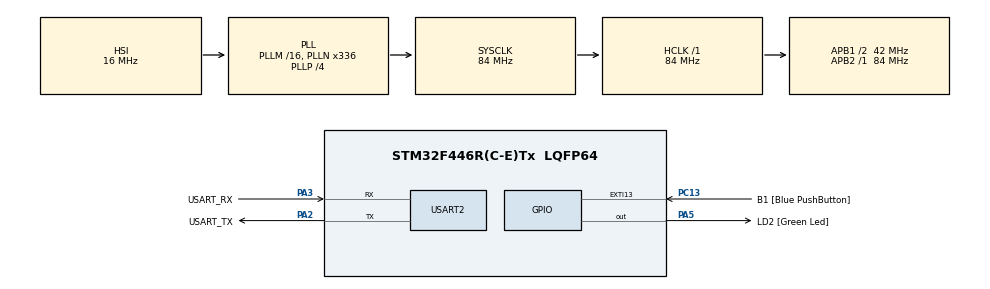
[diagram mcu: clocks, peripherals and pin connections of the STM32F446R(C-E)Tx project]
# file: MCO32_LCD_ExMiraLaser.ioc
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Mcu.Family=STM32F4
Mcu.Name=STM32F446R(C-E)Tx
Mcu.Package=LQFP64
NVIC.PriorityGroup=NVIC_PRIORITYGROUP_0
NVIC.USART2_IRQn=true\:0\:0\:false\:false\:true\:true\:true\:true
PA13.GPIO_Label=TMS
PA13.Mode=Serial_Wire
PA13.Signal=SYS_JTMS-SWDIO
PA14.GPIO_Label=TCK
PA14.Mode=Serial_Wire
PA14.Signal=SYS_JTCK-SWCLK
PA2.GPIO_Label=USART_TX
PA2.Mode=Asynchronous
PA2.Signal=USART2_TX
PA3.GPIO_Label=USART_RX
PA3.Mode=Asynchronous
PA3.Signal=USART2_RX
PA5.GPIO_Label=LD2 [Green Led]
PA5.Signal=GPIO_Output
PB3.GPIO_Label=SWO
PB3.Signal=SYS_JTDO-SWO
PC13.GPIO_Label=B1 [Blue PushButton]
PC13.GPIO_ModeDefaultEXTI=GPIO_MODE_IT_FALLING
PC13.Signal=GPXTI13
PC14-OSC32_IN.Mode=LSE-External-Oscillator
PC14-OSC32_IN.Signal=RCC_OSC32_IN
PC15-OSC32_OUT.Mode=LSE-External-Oscillator
PC15-OSC32_OUT.Signal=RCC_OSC32_OUT
PH0-OSC_IN.Mode=HSE-External-Oscillator
PH0-OSC_IN.Signal=RCC_OSC_IN
PH1-OSC_OUT.Mode=HSE-External-Oscillator
PH1-OSC_OUT.Signal=RCC_OSC_OUT
ProjectManager.HeapSize=0x200
ProjectManager.StackSize=0x400
ProjectManager.TargetToolchain=STM32CubeIDE
RCC.48MHZClocksFreq_Value=84000000
RCC.AHBFreq_Value=84000000
RCC.APB1CLKDivider=RCC_HCLK_DIV2
RCC.APB1Freq_Value=42000000
RCC.APB1TimFreq_Value=84000000
RCC.APB2Freq_Value=84000000
RCC.APB2TimFreq_Value=84000000
RCC.CortexFreq_Value=84000000
RCC.FLatency-AdvancedSettings=FLASH_LATENCY_2
RCC.HCLKFreq_Value=84000000
RCC.HSE_VALUE=8000000
RCC.HSI_VALUE=16000000
RCC.PLLN=336
RCC.PLLP=RCC_PLLP_DIV4
RCC.SYSCLKFreq_VALUE=84000000
RCC.SYSCLKSource=RCC_SYSCLKSOURCE_PLLCLK
RCC.USBFreq_Value=168000000
RCC.VCOOutputFreq_Value=336000000
TIM1.AutoReloadPreload=TIM_AUTORELOAD_PRELOAD_ENABLE
TIM1.Period=0xFFFF-1
TIM1.Prescaler=84-1
USART2.VirtualMode=VM_ASYNC
VP_TIM1_VS_ClockSourceINT.Mode=Internal
board=NUCLEO-F446RE

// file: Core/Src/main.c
/* USER CODE BEGIN Header */
/**
  ******************************************************************************
  * @file           : main.c
  * @brief          : Main program body
  ******************************************************************************
  * @attention
  *
  * Copyright (c) 2022 STMicroelectronics.
  * All rights reserved.
  *
  * This software is licensed under terms that can be found in the LICENSE file
  * in the root directory of this software component.
  * If no LICENSE file comes with this software, it is provided AS-IS.
  *
  ******************************************************************************
  */
/* USER CODE END Header */
#include "main.h"

/* USER CODE BEGIN Includes */
#include "fonts.h"
#include "tft.h"
#include "user_setting.h"
#include "functions.h"
#include "string.h"
/* USER CODE END Includes */

/* USER CODE BEGIN PD */
#define SCREEN_ORIENTATION 1 //0: Retrato | 1: Paisagem
#define SCREEN_BG BLACK //Cor de fundo
#define CH_COLOR GREEN //Cor da mira
#define CH_STEP 2 //Passo da mira
/* USER CODE END PD */

TIM_HandleTypeDef htim1;

UART_HandleTypeDef huart2;

/* USER CODE BEGIN PV */
unsigned char rx;
volatile uint16_t flagRx = 0;
/* USER CODE END PV */

void SystemClock_Config(void);
static void MX_GPIO_Init(void);
static void MX_USART2_UART_Init(void);
static void MX_TIM1_Init(void);
/* USER CODE BEGIN PFP */
void setScreenSettings(void);
void drawCrosshair(uint16_t x, uint16_t y);
void deleteCrosshair(uint16_t x, uint16_t y);
/* USER CODE END PFP */

int main(void)
{

  /* MCU Configuration--------------------------------------------------------*/

  /* Reset of all peripherals, Initializes the Flash interface and the Systick. */
  HAL_Init();

  /* Configure the system clock */
  SystemClock_Config();

  /* Initialize all configured peripherals */
  MX_GPIO_Init();
  MX_USART2_UART_Init();
  MX_TIM1_Init();
  /* USER CODE BEGIN 2 */
  setScreenSettings();
  HAL_UART_Receive_IT(&huart2, &rx, 1); //Habilita interrupção de recebimento na UART2

  /* Inicialização do display */

  /* Desenha mira no centro da tela */
  uint16_t chX = 160;
  uint16_t chY = 120;
  drawCrosshair(chX, chY);
  uint8_t shots = 0;
  uint16_t shotsPos[5][2] = {{0, 0}, {0, 0}, {0, 0}, {0, 0}, {0, 0}};

  /* USER CODE END 2 */

  /* Infinite loop */
  /* USER CODE BEGIN WHILE */
  while (1)
  {
	  /* Desenha os tiros */
	  for(int i = 0; i < shots; i++)
	  {
		  fillCircle(shotsPos[i][0], shotsPos[i][1], 4, RED);
	  }

	  /* Movimenta a mira */
	  if(flagRx)
	  {
		  flagRx = 0;
//		  HAL_UART_Transmit(&huart2, (uint8_t *)"Received: ", 10, 100);
//		  HAL_UART_Transmit(&huart2, &rx, 1, 100);
//		  HAL_UART_Transmit(&huart2, (uint8_t *) "\r\n", 2, 100);

		  switch(rx)
		  {
		  case 'w': //Movimenta para cima
			  deleteCrosshair(chX, chY);
			  if(chY - CH_STEP > 0)
				  chY -= CH_STEP;
			  drawCrosshair(chX, chY);
//			  HAL_UART_Transmit(&huart2, (uint8_t *) "w", 1, 100);
			  break;

		  case 'a': //Movimenta para esquerda
			  deleteCrosshair(chX, chY);
			  if(chX - CH_STEP > 0)
				  chX -= CH_STEP;
			  drawCrosshair(chX, chY);
//			  HAL_UART_Transmit(&huart2, (uint8_t *) "a", 1, 100);
			  break;

		  case 's': //Movimenta para baixo
			  deleteCrosshair(chX, chY);
			  if(chY + CH_STEP < 239)
				  chY += CH_STEP;
			  drawCrosshair(chX, chY);
//			  HAL_UART_Transmit(&huart2, (uint8_t *) "s", 1, 100);
			  break;

		  case 'd': //Movimenta para direita
			  deleteCrosshair(chX, chY);
			  if(chX + CH_STEP < 319)
				  chX += CH_STEP;
			  drawCrosshair(chX, chY);
//			  HAL_UART_Transmit(&huart2, (uint8_t *) "d", 1, 100);
			  break;

		  case ' ':  //Tiro
			  if(shots < 5)
			  {
				  shotsPos[shots][0] = chX;
				  shotsPos[shots][1] = chY;
				  fillCircle(shotsPos[shots][0], shotsPos[shots][1], 4, RED);
				  shots++;
			  }
//			  HAL_UART_Transmit(&huart2, (uint8_t *) "x", 1, 100);
			  break;

		  case 'r': //Reset
			  shots = 0;
			  fillScreen(SCREEN_BG);
			  chX = 160;
			  chY = 120;
			  drawCrosshair(chX, chY);
			  break;
		  }
	  }

    /* USER CODE END WHILE */

  }
}

void SystemClock_Config(void)
{
  RCC_OscInitTypeDef RCC_OscInitStruct = {0};
  RCC_ClkInitTypeDef RCC_ClkInitStruct = {0};

  /** Configure the main internal regulator output voltage
  */
  __HAL_RCC_PWR_CLK_ENABLE();
  __HAL_PWR_VOLTAGESCALING_CONFIG(PWR_REGULATOR_VOLTAGE_SCALE3);

  /** Initializes the RCC Oscillators according to the specified parameters
  * in the RCC_OscInitTypeDef structure.
  */
  RCC_OscInitStruct.OscillatorType = RCC_OSCILLATORTYPE_HSI;
  RCC_OscInitStruct.HSIState = RCC_HSI_ON;
  RCC_OscInitStruct.HSICalibrationValue = RCC_HSICALIBRATION_DEFAULT;
  RCC_OscInitStruct.PLL.PLLState = RCC_PLL_ON;
  RCC_OscInitStruct.PLL.PLLSource = RCC_PLLSOURCE_HSI;
  RCC_OscInitStruct.PLL.PLLM = 16;
  RCC_OscInitStruct.PLL.PLLN = 336;
  RCC_OscInitStruct.PLL.PLLP = RCC_PLLP_DIV4;
  RCC_OscInitStruct.PLL.PLLQ = 2;
  RCC_OscInitStruct.PLL.PLLR = 2;
  if (HAL_RCC_OscConfig(&RCC_OscInitStruct) != HAL_OK)
  {
    Error_Handler();
  }

  /** Initializes the CPU, AHB and APB buses clocks
  */
  RCC_ClkInitStruct.ClockType = RCC_CLOCKTYPE_HCLK|RCC_CLOCKTYPE_SYSCLK
                              |RCC_CLOCKTYPE_PCLK1|RCC_CLOCKTYPE_PCLK2;
  RCC_ClkInitStruct.SYSCLKSource = RCC_SYSCLKSOURCE_PLLCLK;
  RCC_ClkInitStruct.AHBCLKDivider = RCC_SYSCLK_DIV1;
  RCC_ClkInitStruct.APB1CLKDivider = RCC_HCLK_DIV2;
  RCC_ClkInitStruct.APB2CLKDivider = RCC_HCLK_DIV1;

  if (HAL_RCC_ClockConfig(&RCC_ClkInitStruct, FLASH_LATENCY_2) != HAL_OK)
  {
    Error_Handler();
  }
}

static void MX_TIM1_Init(void)
{

  TIM_ClockConfigTypeDef sClockSourceConfig = {0};
  TIM_MasterConfigTypeDef sMasterConfig = {0};

  htim1.Instance = TIM1;
  htim1.Init.Prescaler = 84-1;
  htim1.Init.CounterMode = TIM_COUNTERMODE_UP;
  htim1.Init.Period = 0xFFFF-1;
  htim1.Init.ClockDivision = TIM_CLOCKDIVISION_DIV1;
  htim1.Init.RepetitionCounter = 0;
  htim1.Init.AutoReloadPreload = TIM_AUTORELOAD_PRELOAD_ENABLE;
  if (HAL_TIM_Base_Init(&htim1) != HAL_OK)
  {
    Error_Handler();
  }
  sClockSourceConfig.ClockSource = TIM_CLOCKSOURCE_INTERNAL;
  if (HAL_TIM_ConfigClockSource(&htim1, &sClockSourceConfig) != HAL_OK)
  {
    Error_Handler();
  }
  sMasterConfig.MasterOutputTrigger = TIM_TRGO_RESET;
  sMasterConfig.MasterSlaveMode = TIM_MASTERSLAVEMODE_DISABLE;
  if (HAL_TIMEx_MasterConfigSynchronization(&htim1, &sMasterConfig) != HAL_OK)
  {
    Error_Handler();
  }

}

static void MX_USART2_UART_Init(void)
{

  huart2.Instance = USART2;
  huart2.Init.BaudRate = 115200;
  huart2.Init.WordLength = UART_WORDLENGTH_8B;
  huart2.Init.StopBits = UART_STOPBITS_1;
  huart2.Init.Parity = UART_PARITY_NONE;
  huart2.Init.Mode = UART_MODE_TX_RX;
  huart2.Init.HwFlowCtl = UART_HWCONTROL_NONE;
  huart2.Init.OverSampling = UART_OVERSAMPLING_16;
  if (HAL_UART_Init(&huart2) != HAL_OK)
  {
    Error_Handler();
  }

}

static void MX_GPIO_Init(void)
{
  GPIO_InitTypeDef GPIO_InitStruct = {0};

  /* GPIO Ports Clock Enable */
  __HAL_RCC_GPIOC_CLK_ENABLE();
  __HAL_RCC_GPIOH_CLK_ENABLE();
  __HAL_RCC_GPIOA_CLK_ENABLE();
  __HAL_RCC_GPIOB_CLK_ENABLE();

  /*Configure GPIO pin Output Level */
  HAL_GPIO_WritePin(LD2_GPIO_Port, LD2_Pin, GPIO_PIN_RESET);

  /*Configure GPIO pin : B1_Pin */
  GPIO_InitStruct.Pin = B1_Pin;
  GPIO_InitStruct.Mode = GPIO_MODE_IT_FALLING;
  GPIO_InitStruct.Pull = GPIO_NOPULL;
  HAL_GPIO_Init(B1_GPIO_Port, &GPIO_InitStruct);

  /*Configure GPIO pin : LD2_Pin */
  GPIO_InitStruct.Pin = LD2_Pin;
  GPIO_InitStruct.Mode = GPIO_MODE_OUTPUT_PP;
  GPIO_InitStruct.Pull = GPIO_NOPULL;
  GPIO_InitStruct.Speed = GPIO_SPEED_FREQ_LOW;
  HAL_GPIO_Init(LD2_GPIO_Port, &GPIO_InitStruct);

}

/* USER CODE BEGIN 4 */

/**
 * @brief Sobrescreve função de callback de interrupção de recebimento da UART
 */
void HAL_UART_RxCpltCallback(UART_HandleTypeDef *huart)
{
	HAL_UART_Receive_IT(&huart2, &rx, 1);
	flagRx = 1;
}

/**
 * @brief Configura o LCD
 */
void setScreenSettings(void)
{
	tft_gpio_init(); //Inicializa os GPIOs do LCD (evita uso do CubeMX)
	HAL_TIM_Base_Start(&htim1); //Inicializa o Timer1 (base de tempo de us do LCD)
	uint16_t ID = tft_readID(); //Lê o ID do LCD (poderia ser chamada pela inicialização do LCD)
	HAL_Delay(100);
	tft_init(ID); //Inicializa o LCD de acordo com seu ID
	setRotation(SCREEN_ORIENTATION); //Ajusta a orientação da tela (paisagem)
	fillScreen(SCREEN_BG);
}

/**
 * @brief Desenha a mira na tela
 * @param x é a posição em x
 * @param y é a posição em y
 */
void drawCrosshair(uint16_t x, uint16_t y)
{
	drawLine(x, y - 20, x, y + 20, CH_COLOR);
	drawLine(x - 20, y, x + 20, y, CH_COLOR);
	fillCircle(x, y, 10, SCREEN_BG);
	drawCircle(x, y, 15, CH_COLOR);
	drawPixel(x, y, CH_COLOR);
}

/**
 * @brief Apaga a mira desenhada na tela
 * @param x é a posição em x
 * @param y é a posição em y
 */
void deleteCrosshair(uint16_t x, uint16_t y)
{
	fillCircle(x, y, 20, SCREEN_BG);
}

/* USER CODE END 4 */

void Error_Handler(void)
{
  __disable_irq();
  while (1)
  {
  }
}
